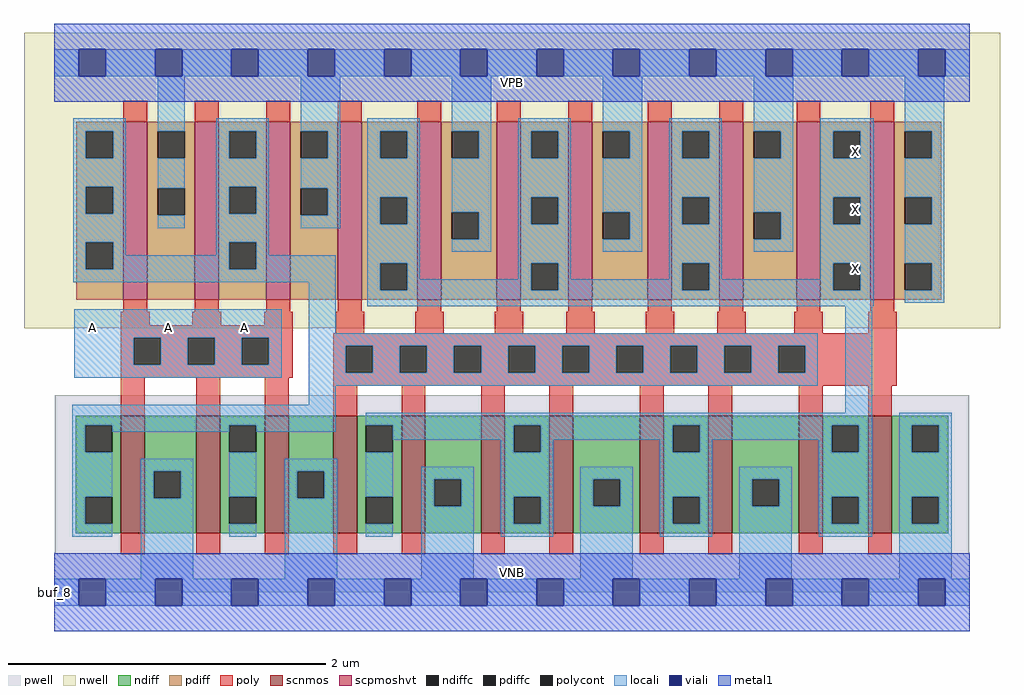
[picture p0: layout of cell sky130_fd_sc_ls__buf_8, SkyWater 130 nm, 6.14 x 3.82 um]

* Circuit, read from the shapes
.subckt sky130_fd_sc_ls__buf_8 A VGND VNB VPB VPWR X
XM1 VGND A n1 VNB sky130_fd_pr__nfet_01v8 w=0.74 l=0.15 m=3
XM2 X n1 VGND VNB sky130_fd_pr__nfet_01v8 w=0.74 l=0.15 m=8
XM3 VPWR A n1 VPB sky130_fd_pr__pfet_01v8_hvt w=1.12 l=0.15 m=3
XM4 X n1 VPWR VPB sky130_fd_pr__pfet_01v8_hvt w=1.12 l=0.15 m=8
.ends

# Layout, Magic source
magic
tech sky130A
magscale 1 2
<< nwell >>
rect -38 332 1190 704
<< pwell >>
rect 1 49 1151 248
rect 0 0 1152 49
<< scnmos >>
rect 84 74 114 222
rect 179 74 209 222
rect 265 74 295 222
rect 351 74 381 222
rect 437 74 467 222
rect 537 74 567 222
rect 623 74 653 222
rect 737 74 767 222
rect 823 74 853 222
rect 937 74 967 222
rect 1024 74 1054 222
<< scpmoshvt >>
rect 87 368 117 592
rect 177 368 207 592
rect 267 368 297 592
rect 357 368 387 592
rect 457 368 487 592
rect 557 368 587 592
rect 647 368 677 592
rect 747 368 777 592
rect 837 368 867 592
rect 934 368 964 592
rect 1027 368 1057 592
<< ndiff >>
rect 27 210 84 222
rect 27 176 39 210
rect 73 176 84 210
rect 27 120 84 176
rect 27 86 39 120
rect 73 86 84 120
rect 27 74 84 86
rect 114 152 179 222
rect 114 118 125 152
rect 159 118 179 152
rect 114 74 179 118
rect 209 210 265 222
rect 209 176 220 210
rect 254 176 265 210
rect 209 120 265 176
rect 209 86 220 120
rect 254 86 265 120
rect 209 74 265 86
rect 295 152 351 222
rect 295 118 306 152
rect 340 118 351 152
rect 295 74 351 118
rect 381 210 437 222
rect 381 176 392 210
rect 426 176 437 210
rect 381 120 437 176
rect 381 86 392 120
rect 426 86 437 120
rect 381 74 437 86
rect 467 142 537 222
rect 467 108 478 142
rect 512 108 537 142
rect 467 74 537 108
rect 567 210 623 222
rect 567 176 578 210
rect 612 176 623 210
rect 567 120 623 176
rect 567 86 578 120
rect 612 86 623 120
rect 567 74 623 86
rect 653 142 737 222
rect 653 108 678 142
rect 712 108 737 142
rect 653 74 737 108
rect 767 210 823 222
rect 767 176 778 210
rect 812 176 823 210
rect 767 120 823 176
rect 767 86 778 120
rect 812 86 823 120
rect 767 74 823 86
rect 853 142 937 222
rect 853 108 878 142
rect 912 108 937 142
rect 853 74 937 108
rect 967 210 1024 222
rect 967 176 978 210
rect 1012 176 1024 210
rect 967 120 1024 176
rect 967 86 978 120
rect 1012 86 1024 120
rect 967 74 1024 86
rect 1054 210 1125 222
rect 1054 176 1079 210
rect 1113 176 1125 210
rect 1054 120 1125 176
rect 1054 86 1079 120
rect 1113 86 1125 120
rect 1054 74 1125 86
<< pdiff >>
rect 28 580 87 592
rect 28 546 40 580
rect 74 546 87 580
rect 28 510 87 546
rect 28 476 40 510
rect 74 476 87 510
rect 28 440 87 476
rect 28 406 40 440
rect 74 406 87 440
rect 28 368 87 406
rect 117 580 177 592
rect 117 546 130 580
rect 164 546 177 580
rect 117 508 177 546
rect 117 474 130 508
rect 164 474 177 508
rect 117 368 177 474
rect 207 580 267 592
rect 207 546 220 580
rect 254 546 267 580
rect 207 510 267 546
rect 207 476 220 510
rect 254 476 267 510
rect 207 440 267 476
rect 207 406 220 440
rect 254 406 267 440
rect 207 368 267 406
rect 297 580 357 592
rect 297 546 310 580
rect 344 546 357 580
rect 297 508 357 546
rect 297 474 310 508
rect 344 474 357 508
rect 297 368 357 474
rect 387 580 457 592
rect 387 546 410 580
rect 444 546 457 580
rect 387 497 457 546
rect 387 463 410 497
rect 444 463 457 497
rect 387 414 457 463
rect 387 380 410 414
rect 444 380 457 414
rect 387 368 457 380
rect 487 580 557 592
rect 487 546 500 580
rect 534 546 557 580
rect 487 478 557 546
rect 487 444 500 478
rect 534 444 557 478
rect 487 368 557 444
rect 587 580 647 592
rect 587 546 600 580
rect 634 546 647 580
rect 587 497 647 546
rect 587 463 600 497
rect 634 463 647 497
rect 587 414 647 463
rect 587 380 600 414
rect 634 380 647 414
rect 587 368 647 380
rect 677 580 747 592
rect 677 546 690 580
rect 724 546 747 580
rect 677 478 747 546
rect 677 444 690 478
rect 724 444 747 478
rect 677 368 747 444
rect 777 580 837 592
rect 777 546 790 580
rect 824 546 837 580
rect 777 497 837 546
rect 777 463 790 497
rect 824 463 837 497
rect 777 414 837 463
rect 777 380 790 414
rect 824 380 837 414
rect 777 368 837 380
rect 867 580 934 592
rect 867 546 880 580
rect 914 546 934 580
rect 867 478 934 546
rect 867 444 880 478
rect 914 444 934 478
rect 867 368 934 444
rect 964 580 1027 592
rect 964 546 980 580
rect 1014 546 1027 580
rect 964 497 1027 546
rect 964 463 980 497
rect 1014 463 1027 497
rect 964 414 1027 463
rect 964 380 980 414
rect 1014 380 1027 414
rect 964 368 1027 380
rect 1057 580 1116 592
rect 1057 546 1070 580
rect 1104 546 1116 580
rect 1057 497 1116 546
rect 1057 463 1070 497
rect 1104 463 1116 497
rect 1057 414 1116 463
rect 1057 380 1070 414
rect 1104 380 1116 414
rect 1057 368 1116 380
<< ndiffc >>
rect 39 176 73 210
rect 39 86 73 120
rect 125 118 159 152
rect 220 176 254 210
rect 220 86 254 120
rect 306 118 340 152
rect 392 176 426 210
rect 392 86 426 120
rect 478 108 512 142
rect 578 176 612 210
rect 578 86 612 120
rect 678 108 712 142
rect 778 176 812 210
rect 778 86 812 120
rect 878 108 912 142
rect 978 176 1012 210
rect 978 86 1012 120
rect 1079 176 1113 210
rect 1079 86 1113 120
<< pdiffc >>
rect 40 546 74 580
rect 40 476 74 510
rect 40 406 74 440
rect 130 546 164 580
rect 130 474 164 508
rect 220 546 254 580
rect 220 476 254 510
rect 220 406 254 440
rect 310 546 344 580
rect 310 474 344 508
rect 410 546 444 580
rect 410 463 444 497
rect 410 380 444 414
rect 500 546 534 580
rect 500 444 534 478
rect 600 546 634 580
rect 600 463 634 497
rect 600 380 634 414
rect 690 546 724 580
rect 690 444 724 478
rect 790 546 824 580
rect 790 463 824 497
rect 790 380 824 414
rect 880 546 914 580
rect 880 444 914 478
rect 980 546 1014 580
rect 980 463 1014 497
rect 980 380 1014 414
rect 1070 546 1104 580
rect 1070 463 1104 497
rect 1070 380 1104 414
<< poly >>
rect 87 592 117 618
rect 177 592 207 618
rect 267 592 297 618
rect 357 592 387 618
rect 457 592 487 618
rect 557 592 587 618
rect 647 592 677 618
rect 747 592 777 618
rect 837 592 867 618
rect 934 592 964 618
rect 1027 592 1057 618
rect 87 353 117 368
rect 177 353 207 368
rect 267 353 297 368
rect 357 353 387 368
rect 457 353 487 368
rect 557 353 587 368
rect 647 353 677 368
rect 747 353 777 368
rect 837 353 867 368
rect 934 353 964 368
rect 1027 353 1057 368
rect 84 336 120 353
rect 174 336 210 353
rect 264 336 300 353
rect 84 320 300 336
rect 354 326 390 353
rect 454 326 490 353
rect 554 326 590 353
rect 644 326 680 353
rect 744 326 780 353
rect 834 326 870 353
rect 931 326 967 353
rect 1024 326 1060 353
rect 84 286 100 320
rect 134 286 168 320
rect 202 286 236 320
rect 270 286 300 320
rect 84 270 300 286
rect 351 310 1060 326
rect 351 276 367 310
rect 401 276 435 310
rect 469 276 503 310
rect 537 276 571 310
rect 605 276 639 310
rect 673 276 707 310
rect 741 276 775 310
rect 809 276 843 310
rect 877 276 911 310
rect 945 276 1060 310
rect 84 222 114 270
rect 179 222 209 270
rect 265 222 295 270
rect 351 260 1060 276
rect 351 222 381 260
rect 437 222 467 260
rect 537 222 567 260
rect 623 222 653 260
rect 737 222 767 260
rect 823 222 853 260
rect 937 222 967 260
rect 1024 222 1054 260
rect 84 48 114 74
rect 179 48 209 74
rect 265 48 295 74
rect 351 48 381 74
rect 437 48 467 74
rect 537 48 567 74
rect 623 48 653 74
rect 737 48 767 74
rect 823 48 853 74
rect 937 48 967 74
rect 1024 48 1054 74
<< polycont >>
rect 100 286 134 320
rect 168 286 202 320
rect 236 286 270 320
rect 367 276 401 310
rect 435 276 469 310
rect 503 276 537 310
rect 571 276 605 310
rect 639 276 673 310
rect 707 276 741 310
rect 775 276 809 310
rect 843 276 877 310
rect 911 276 945 310
<< locali >>
rect 0 649 31 683
rect 65 649 127 683
rect 161 649 223 683
rect 257 649 319 683
rect 353 649 415 683
rect 449 649 511 683
rect 545 649 607 683
rect 641 649 703 683
rect 737 649 799 683
rect 833 649 895 683
rect 929 649 991 683
rect 1025 649 1087 683
rect 1121 649 1152 683
rect 24 580 90 596
rect 24 546 40 580
rect 74 546 90 580
rect 24 510 90 546
rect 24 476 40 510
rect 74 476 90 510
rect 24 440 90 476
rect 130 580 164 649
rect 130 508 164 546
rect 130 458 164 474
rect 204 580 270 596
rect 204 546 220 580
rect 254 546 270 580
rect 204 510 270 546
rect 204 476 220 510
rect 254 476 270 510
rect 24 406 40 440
rect 74 424 90 440
rect 204 440 270 476
rect 310 580 360 649
rect 344 546 360 580
rect 310 508 360 546
rect 344 474 360 508
rect 310 458 360 474
rect 394 580 460 596
rect 394 546 410 580
rect 444 546 460 580
rect 394 497 460 546
rect 394 463 410 497
rect 444 463 460 497
rect 204 424 220 440
rect 74 406 220 424
rect 254 424 270 440
rect 254 406 354 424
rect 24 390 354 406
rect 25 320 286 356
rect 25 286 100 320
rect 134 286 168 320
rect 202 286 236 320
rect 270 286 286 320
rect 25 270 286 286
rect 320 326 354 390
rect 394 414 460 463
rect 500 580 550 649
rect 534 546 550 580
rect 500 478 550 546
rect 534 444 550 478
rect 500 428 550 444
rect 584 580 650 596
rect 584 546 600 580
rect 634 546 650 580
rect 584 497 650 546
rect 584 463 600 497
rect 634 463 650 497
rect 394 380 410 414
rect 444 394 460 414
rect 584 414 650 463
rect 690 580 740 649
rect 724 546 740 580
rect 690 478 740 546
rect 724 444 740 478
rect 690 428 740 444
rect 774 580 840 596
rect 774 546 790 580
rect 824 546 840 580
rect 774 497 840 546
rect 774 463 790 497
rect 824 463 840 497
rect 584 394 600 414
rect 444 380 600 394
rect 634 394 650 414
rect 774 414 840 463
rect 880 580 930 649
rect 914 546 930 580
rect 880 478 930 546
rect 914 444 930 478
rect 880 428 930 444
rect 964 580 1031 596
rect 964 546 980 580
rect 1014 546 1031 580
rect 964 497 1031 546
rect 964 463 980 497
rect 1014 463 1031 497
rect 774 394 790 414
rect 634 380 790 394
rect 824 394 840 414
rect 964 414 1031 463
rect 964 394 980 414
rect 824 380 980 394
rect 1014 380 1031 414
rect 394 360 1031 380
rect 1070 580 1120 649
rect 1104 546 1120 580
rect 1070 497 1120 546
rect 1104 463 1120 497
rect 1070 414 1120 463
rect 1104 380 1120 414
rect 1070 364 1120 380
rect 320 310 961 326
rect 320 276 367 310
rect 401 276 435 310
rect 469 276 503 310
rect 537 276 571 310
rect 605 276 639 310
rect 673 276 707 310
rect 741 276 775 310
rect 809 276 843 310
rect 877 276 911 310
rect 945 276 961 310
rect 320 260 961 276
rect 320 236 354 260
rect 23 210 354 236
rect 995 226 1029 360
rect 23 176 39 210
rect 73 202 220 210
rect 23 120 73 176
rect 254 202 354 210
rect 392 210 1029 226
rect 23 86 39 120
rect 23 70 73 86
rect 109 152 175 168
rect 109 118 125 152
rect 159 118 175 152
rect 109 17 175 118
rect 220 120 254 176
rect 426 192 578 210
rect 220 70 254 86
rect 290 152 356 168
rect 290 118 306 152
rect 340 118 356 152
rect 290 17 356 118
rect 392 120 426 176
rect 562 176 578 192
rect 612 192 778 210
rect 612 176 628 192
rect 392 70 426 86
rect 462 142 528 158
rect 462 108 478 142
rect 512 108 528 142
rect 462 17 528 108
rect 562 120 628 176
rect 762 176 778 192
rect 812 192 978 210
rect 812 176 828 192
rect 562 86 578 120
rect 612 86 628 120
rect 562 70 628 86
rect 662 142 728 158
rect 662 108 678 142
rect 712 108 728 142
rect 662 17 728 108
rect 762 120 828 176
rect 962 176 978 192
rect 1012 176 1029 210
rect 762 86 778 120
rect 812 86 828 120
rect 762 70 828 86
rect 862 142 928 158
rect 862 108 878 142
rect 912 108 928 142
rect 862 17 928 108
rect 962 120 1029 176
rect 962 86 978 120
rect 1012 86 1029 120
rect 962 70 1029 86
rect 1063 210 1129 226
rect 1063 176 1079 210
rect 1113 176 1129 210
rect 1063 120 1129 176
rect 1063 86 1079 120
rect 1113 86 1129 120
rect 1063 17 1129 86
rect 0 -17 31 17
rect 65 -17 127 17
rect 161 -17 223 17
rect 257 -17 319 17
rect 353 -17 415 17
rect 449 -17 511 17
rect 545 -17 607 17
rect 641 -17 703 17
rect 737 -17 799 17
rect 833 -17 895 17
rect 929 -17 991 17
rect 1025 -17 1087 17
rect 1121 -17 1152 17
<< viali >>
rect 31 649 65 683
rect 127 649 161 683
rect 223 649 257 683
rect 319 649 353 683
rect 415 649 449 683
rect 511 649 545 683
rect 607 649 641 683
rect 703 649 737 683
rect 799 649 833 683
rect 895 649 929 683
rect 991 649 1025 683
rect 1087 649 1121 683
rect 31 -17 65 17
rect 127 -17 161 17
rect 223 -17 257 17
rect 319 -17 353 17
rect 415 -17 449 17
rect 511 -17 545 17
rect 607 -17 641 17
rect 703 -17 737 17
rect 799 -17 833 17
rect 895 -17 929 17
rect 991 -17 1025 17
rect 1087 -17 1121 17
<< metal1 >>
rect 0 683 1152 715
rect 0 649 31 683
rect 65 649 127 683
rect 161 649 223 683
rect 257 649 319 683
rect 353 649 415 683
rect 449 649 511 683
rect 545 649 607 683
rect 641 649 703 683
rect 737 649 799 683
rect 833 649 895 683
rect 929 649 991 683
rect 1025 649 1087 683
rect 1121 649 1152 683
rect 0 617 1152 649
rect 0 17 1152 49
rect 0 -17 31 17
rect 65 -17 127 17
rect 161 -17 223 17
rect 257 -17 319 17
rect 353 -17 415 17
rect 449 -17 511 17
rect 545 -17 607 17
rect 641 -17 703 17
rect 737 -17 799 17
rect 833 -17 895 17
rect 929 -17 991 17
rect 1025 -17 1087 17
rect 1121 -17 1152 17
rect 0 -49 1152 -17
<< labels >>
rlabel comment s 0 0 0 0 4 buf_8
flabel pwell s 0 0 1152 49 0 FreeSans 200 0 0 0 VNB
port 3 nsew ground bidirectional
flabel nwell s 0 617 1152 666 0 FreeSans 200 0 0 0 VPB
port 4 nsew power bidirectional
flabel metal1 s 0 617 1152 666 0 FreeSans 340 0 0 0 VPWR
port 5 nsew power bidirectional abutment
flabel metal1 s 0 0 1152 49 0 FreeSans 340 0 0 0 VGND
port 2 nsew ground bidirectional abutment
flabel locali s 991 390 1025 424 0 FreeSans 340 0 0 0 X
port 6 nsew signal output
flabel locali s 991 464 1025 498 0 FreeSans 340 0 0 0 X
port 6 nsew signal output
flabel locali s 991 538 1025 572 0 FreeSans 340 0 0 0 X
port 6 nsew signal output
flabel locali s 31 316 65 350 0 FreeSans 340 0 0 0 A
port 1 nsew signal input
flabel locali s 127 316 161 350 0 FreeSans 340 0 0 0 A
port 1 nsew signal input
flabel locali s 223 316 257 350 0 FreeSans 340 0 0 0 A
port 1 nsew signal input
<< properties >>
string LEFsite unit
string LEFclass CORE
string FIXED_BBOX 0 0 1152 666
string GDS_FILE $PDKPATH/libs.ref/sky130_fd_sc_ls/gds/sky130_fd_sc_ls.gds
string LEFsymmetry X Y
string GDS_END 2994842
string GDS_START 2985050
<< end >>
